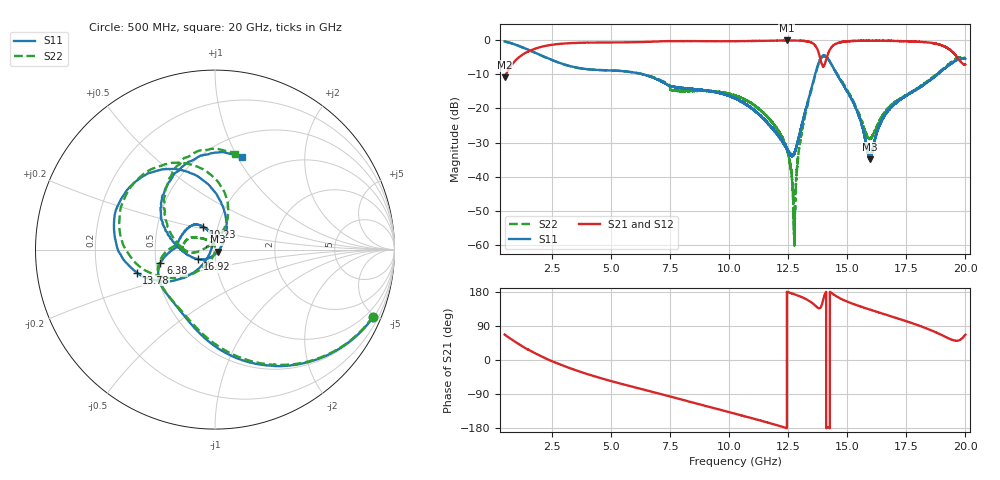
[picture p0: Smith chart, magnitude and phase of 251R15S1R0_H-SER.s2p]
!{251R15S1R0}
!Johanson Technology Inc.
!www.johansontechnology.com
!Test Board Conditions:
!Substrate Type  RO4350B
!Substrate Thickness  20 mil
!Substrate Dk  3.66
!TL Type: GCPW
!TL Trace Width  34 mil
!TL Gap  10 mil
!Electrode orientation  Horizontal
!DUT TOPOLOGY	SERIES
!Mounting Pad LxW  26x52 mil
! Created Thu Mar 12 16:31:33 2020
# mhz S ma R 50
! 2 Port Network Data from SP1.SP block
! freq  magS11  angS11  magS21  angS21  magS12  angS12  magS22  angS22
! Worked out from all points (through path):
!   19501 points, 500 MHz to 20 GHz, reference 50 ohm
!   highest |S21| = -0.07 dB at 12.45 GHz (marker M1); lowest = -10.9 dB at 500 MHz (marker M2)
!   lowest |S11| = -34.9 dB at 15.95 GHz (marker M3), VSWR 1.04, Z = 51.4 - j1.12 ohm
!   |S11| at or under -10 dB: 6.347 GHz to 13.64 GHz (7.295 GHz wide, 73 % of centre); 14.57 GHz to 18.82 GHz (4.254 GHz wide, 25.5 % of centre)
!   |S22| runs from -60.4 to -0.4 dB; largest |S21 - S12| = 0.018
!   S11 on the Smith chart (normalised r, x): 500 MHz: 0.54, -4.85; 6.38 GHz: 0.53, -0.09; 10.23 GHz: 0.85, +0.22; 13.78 GHz: 0.38, -0.12; 16.92 GHz: 0.82, -0.09; 20 GHz: 0.72, +1.04
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500  0.9578 -23.0  0.2856 67.2  0.2864 67.2  0.956 -23.0
2114  0.5864 -83.0  0.8078 7.7  0.8088 7.8  0.5819 -81.7
3750  0.3862 -121.9  0.9174 -32.2  0.9177 -32.1  0.3845 -120.8
6380  0.3136 -166.0  0.9429 -78.0  0.943 -77.9  0.3166 -167.9
7000  0.2629 -175.3  0.958 -88.0  0.9593 -87.9  0.2675 -178.4
10229  0.141 117.1  0.9675 -141.3  0.966 -141.3  0.1562 156.5
10250  0.1398 116.6  0.9669 -141.7  0.9678 -141.8  0.1551 156.0
11559  0.06527 103.0  0.9811 -163.8  0.9808 -163.8  0.07906 133.5
12447  0.02608 124.7  0.9914 180.0  0.9885 -180.0  0.02462 99.9
12766  0.02231 -174.5  0.9897 173.4  0.989 173.4  0.001457 -51.5
13023  0.04867 -137.5  0.9838 167.3  0.9845 167.4  0.03547 -104.2
13500  0.207 -135.6  0.9172 151.2  0.9198 151.2  0.1984 -134.8
13778  0.4553 -163.7  0.6776 136.8  0.6827 136.2  0.4401 -169.0
13990  0.5941 156.7  0.4108 160.3  0.4091 159.3  0.58 149.3
14224  0.5135 118.9  0.6777 -178.6  0.6771 -179.1  0.5101 109.4
15355  0.1014 53.9  0.979 145.6  0.9741 145.9  0.1084 67.3
15945  0.01799 -37.1  0.9836 133.3  0.9832 133.4  0.03642 125.4
16750  0.09519 -144.4  0.9816 117.4  0.9781 117.2  0.1027 -172.1
16924  0.1091 -150.9  0.9752 113.7  0.9705 114.0  0.1167 -171.5
18236  0.222 172.0  0.9388 86.4  0.934 85.7  0.2271 167.4
19174  0.3983 138.7  0.7911 60.4  0.7928 61.4  0.4103 132.8
20000  0.5358 73.8  0.4405 66.8  0.4416 67.1  0.5441 78.4
